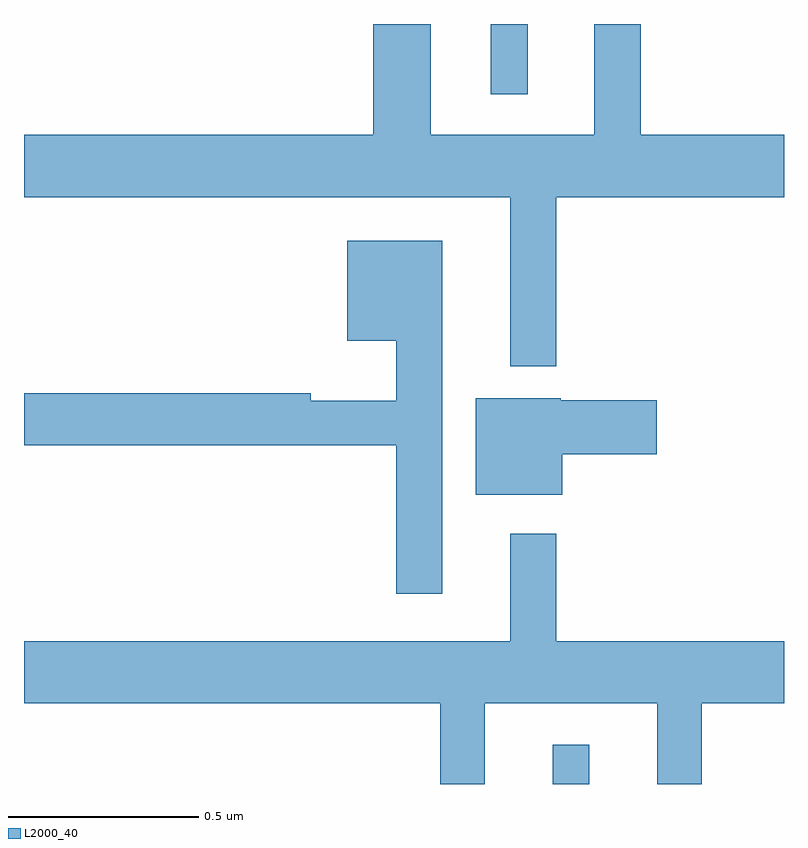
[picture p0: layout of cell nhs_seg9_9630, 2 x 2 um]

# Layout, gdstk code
import gdstk
lib = gdstk.Library(unit=1e-6, precision=1e-09)
def R(c, l, rs):  # rectangles x0, y0, x1, y1
    for r in rs: c.add(gdstk.rectangle(r[:2], r[2:], *l))
def P(c, l, *ps):  # polygons
    for p in ps: c.add(gdstk.Polygon(p, *l))
L2000_40 = (2000, 40)

nhs_seg9_9630 = lib.new_cell('nhs_seg9_9630')
R(nhs_seg9_9630, L2000_40, [(233.391,1237.5,233.488,1237.603), (233.228,1239.315,233.326,1239.5)])
P(nhs_seg9_9630, L2000_40, [(233.401,1239.044),(234,1239.044),(234,1239.208),(233.623,1239.208),(233.623,1239.5),(233.501,1239.5),(233.501,1239.208),(233.071,1239.208),(233.071,1239.5),(232.919,1239.5),(232.919,1239.208),(232,1239.208),(232,1239.044),(233.279,1239.044),(233.279,1238.6),(233.401,1238.6)],
  [(233.101,1238.929),(232.85,1238.929),(232.85,1238.666),(232.98,1238.666),(232.98,1238.509),(232.754,1238.509),(232.754,1238.528),(232,1238.528),(232,1238.392),(232.98,1238.392),(232.98,1238.001),(233.101,1238.001)],
  [(233.416,1238.368),(233.665,1238.368),(233.665,1238.51),(233.412,1238.51),(233.412,1238.515),(233.189,1238.515),(233.189,1238.261),(233.416,1238.261)],
  [(233.213,1237.712),(233.666,1237.712),(233.666,1237.5),(233.783,1237.5),(233.783,1237.712),(234,1237.712),(234,1237.876),(233.401,1237.876),(233.401,1238.158),(233.279,1238.158),(233.279,1237.876),(232,1237.876),(232,1237.712),(233.095,1237.712),(233.095,1237.5),(233.213,1237.5)])

lib.write_gds('nhs_seg9_9630.gds')
